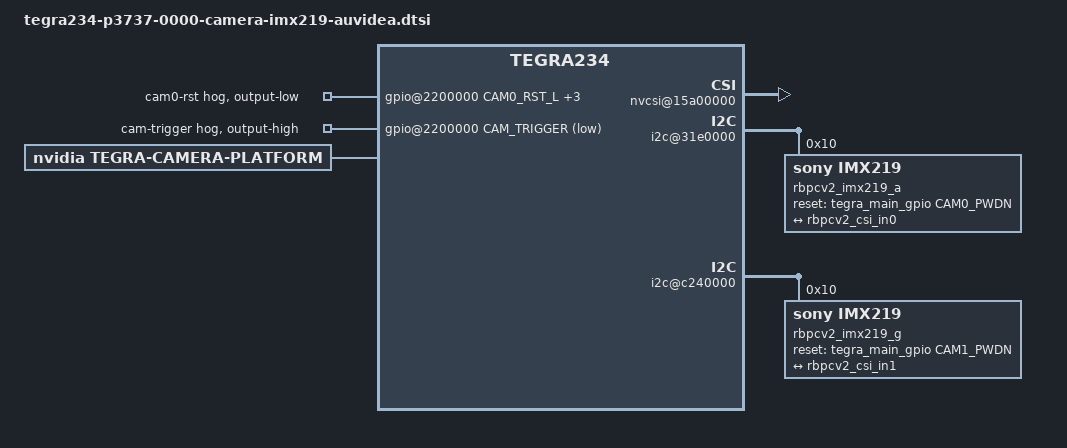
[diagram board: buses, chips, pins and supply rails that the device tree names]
/*
 * Copyright (c) 2017-2021, NVIDIA CORPORATION.  All rights reserved.
 *
 * This program is free software; you can redistribute it and/or modify it
 * under the terms and conditions of the GNU General Public License,
 * version 2, as published by the Free Software Foundation.
 *
 * This program is distributed in the hope it will be useful, but WITHOUT
 * ANY WARRANTY; without even the implied warranty of MERCHANTABILITY or
 * FITNESS FOR A PARTICULAR PURPOSE.  See the GNU General Public License for
 * more details.
 *
 * You should have received a copy of the GNU General Public License
 * along with this program.  If not, see <http://www.gnu.org/licenses/>.
 */

//new file created for 2x cam on X230D

#include "dt-bindings/clock/tegra234-clock.h"

#define CAM0_RST_L	TEGRA234_MAIN_GPIO(H, 3)
#define CAM0_PWDN	TEGRA234_MAIN_GPIO(H, 6)
#define CAM1_RST_L	TEGRA234_MAIN_GPIO(AC, 1)
#define CAM1_PWDN	TEGRA234_MAIN_GPIO(AC, 0)
#define CAM_TRIGGER	TEGRA234_MAIN_GPIO(R, 0)

#define CAMERA_I2C_MUX_BUS(x) (0x1E + x)

/* camera control gpio definitions */

/ {
	gpio@2200000 {
		camera-control-output-low {
			gpio-hog;
			output-low;
			gpios = <CAM0_RST_L 0 CAM0_PWDN 0
				 CAM1_RST_L 0 CAM1_PWDN 0>;
			label = "cam0-rst", "cam0-pwdn",
				"cam1-rst", "cam1-pwdn";
		};
		camera-trigger-output-high {					//remember to use "sudo busybox devmem 0x02430080 w 0x0c"
			gpio-hog;						//for cameras to work properly
			output-high;
			gpios = <CAM_TRIGGER 1>;
			label = "cam-trigger";
		};
	};

	tegra-capture-vi {
		status = "okay";
		num-channels = <2>;
		ports {
			status = "okay";
			#address-cells = <1>;
			#size-cells = <0>;
			vi_port0: port@0 {
				status = "okay";
				reg = <0>;
				rbpcv2_vi_in0: endpoint {
					status = "okay";
					port-index = <0>;
					bus-width = <2>;
					remote-endpoint = <&rbpcv2_csi_out0>;
				};
			};
			vi_port1: port@1 {
				status = "okay";
				reg = <1>;
				rbpcv2_vi_in1: endpoint {
					status = "okay";
					port-index = <5>;						//use stream 5 because no stream 6 is avaliable on the agx orin(fd)
					bus-width = <2>;
					remote-endpoint = <&rbpcv2_csi_out1>;
				};
			};
		};
	};

	host1x@13e00000 {
		nvcsi@15a00000 {
			status = "okay";
			num-channels = <2>;
			#address-cells = <1>;
			#size-cells = <0>;
			csi_chan0: channel@0 {
				status = "okay";
				reg = <0>;
				ports {
					status = "okay";
					#address-cells = <1>;
					#size-cells = <0>;
					csi_chan0_port0: port@0 {
						status = "okay";
						reg = <0>;
						rbpcv2_csi_in0: endpoint@0 {
							status = "okay";
							port-index = <0>;
							bus-width = <2>;
							remote-endpoint = <&rbpcv2_imx219_out0>;
						};
					};
					csi_chan0_port1: port@1 {
						status = "okay";
						reg = <1>;
						rbpcv2_csi_out0: endpoint@1 {
							status = "okay";
							remote-endpoint = <&rbpcv2_vi_in0>;
						};
					};
				};
			};
			csi_chan1: channel@1 {
				status = "okay";
				reg = <1>;
				ports {
					status = "okay";
					#address-cells = <1>;
					#size-cells = <0>;
					csi_chan1_port0: port@0 {
						status = "okay";
						reg = <0>;
						rbpcv2_csi_in1: endpoint@2 {
							status = "okay";
							port-index = <6>;
							bus-width = <2>;
							remote-endpoint = <&rbpcv2_imx219_out1>;
						};
					};
					csi_chan1_port1: port@1 {
						status = "okay";
						reg = <1>;
						rbpcv2_csi_out1: endpoint@3 {
							status = "okay";
							remote-endpoint = <&rbpcv2_vi_in1>;
						};
					};
				};
			};
		};
	};

	i2c@31e0000 {
		status="okay";
		rbpcv2_imx219_a@10 {
			status = "okay";
			reset-gpios = <&tegra_main_gpio CAM0_PWDN GPIO_ACTIVE_HIGH>;
			compatible = "sony,imx219";
			reg = <0x10>;

			devnode = "video0";

			physical_w = "3.680";
			physical_h = "2.760";

			sensor_model = "imx219";

			use_sensor_mode_id = "true";

			mode0 { // IMX219_MODE_3280x2464_21FPS //
				mclk_khz = "24000";
				num_lanes = "2";
				tegra_sinterface = "serial_a";
				phy_mode = "DPHY";
				discontinuous_clk = "yes";
				dpcm_enable = "false";
				cil_settletime = "0";

				active_w = "3280";
				active_h = "2464";
				mode_type = "bayer";
				pixel_phase = "rggb";
				csi_pixel_bit_depth = "10";
				readout_orientation = "90";
				line_length = "3448";
				inherent_gain = "1";
				mclk_multiplier = "9.33";
				pix_clk_hz = "182400000";

				gain_factor = "16";
				framerate_factor = "1000000";
				exposure_factor = "1000000";
				min_gain_val = "16"; // 1.00x //
				max_gain_val = "170"; // 10.66x //
				step_gain_val = "1";
				default_gain = "16"; // 1.00x //
				min_hdr_ratio = "1";
				max_hdr_ratio = "1";
				min_framerate = "2000000"; // 2.0 fps //
				max_framerate = "21000000"; // 21.0 fps //
				step_framerate = "1";
				default_framerate = "21000000"; // 21.0 fps //
				min_exp_time = "13"; // us //
				max_exp_time = "683709"; // us //
				step_exp_time = "1";
				default_exp_time = "2495"; // us //

				embedded_metadata_height = "2";
			};
			mode1 { // IMX219_MODE_3280x1848_28FPS //
				mclk_khz = "24000";
				num_lanes = "2";
				tegra_sinterface = "serial_a";
				phy_mode = "DPHY";
				discontinuous_clk = "yes";
				dpcm_enable = "false";
				cil_settletime = "0";

				active_w = "3280";
				active_h = "1848";
				mode_type = "bayer";
				pixel_phase = "rggb";
				csi_pixel_bit_depth = "10";
				readout_orientation = "90";
				line_length = "3448";
				inherent_gain = "1";
				mclk_multiplier = "9.33";
				pix_clk_hz = "182400000";

				gain_factor = "16";
				framerate_factor = "1000000";
				exposure_factor = "1000000";
				min_gain_val = "16"; // 1.00x //
				max_gain_val = "170"; // 10.66x //
				step_gain_val = "1";
				default_gain = "16"; // 1.00x //
				min_hdr_ratio = "1";
				max_hdr_ratio = "1";
				min_framerate = "2000000"; // 2.0 fps //
				max_framerate = "28000000"; // 28.0 fps //
				step_framerate = "1";
				default_framerate = "28000000"; // 28.0 fps //
				min_exp_time = "13"; // us //
				max_exp_time = "683709"; // us //
				step_exp_time = "1";
				default_exp_time = "2495"; // us //

				embedded_metadata_height = "2";
			};
			mode2 { // IMX219_MODE_1920x1080_30FPS //
				mclk_khz = "24000";
				num_lanes = "2";
				tegra_sinterface = "serial_a";
				phy_mode = "DPHY";
				discontinuous_clk = "yes";
				dpcm_enable = "false";
				cil_settletime = "0";

				active_w = "1920";
				active_h = "1080";
				mode_type = "bayer";
				pixel_phase = "rggb";
				csi_pixel_bit_depth = "10";
				readout_orientation = "90";
				line_length = "3448";
				inherent_gain = "1";
				mclk_multiplier = "9.33";
				pix_clk_hz = "182400000";

				gain_factor = "16";
				framerate_factor = "1000000";
				exposure_factor = "1000000";
				min_gain_val = "16"; // 1.00x //
				max_gain_val = "170"; // 10.66x //
				step_gain_val = "1";
				default_gain = "16"; // 1.00x //
				min_hdr_ratio = "1";
				max_hdr_ratio = "1";
				min_framerate = "2000000"; // 2.0 fps //
				max_framerate = "30000000"; // 30.0 fps //
				step_framerate = "1";
				default_framerate = "30000000"; // 30.0 fps //
				min_exp_time = "13"; // us //
				max_exp_time = "683709"; // us //
				step_exp_time = "1";
				default_exp_time = "2495"; // us //

				embedded_metadata_height = "2";
			};

			mode3 { // IMX219_MODE_1640x1232_30FPS //
				mclk_khz = "24000";
				num_lanes = "2";
				tegra_sinterface = "serial_a";
				phy_mode = "DPHY";
				discontinuous_clk = "yes";
				dpcm_enable = "false";
				cil_settletime = "0";

				active_w = "1640";
				active_h = "1232";
				mode_type = "bayer";
				pixel_phase = "rggb";
				csi_pixel_bit_depth = "10";
				readout_orientation = "90";
				line_length = "3448";
				inherent_gain = "1";
				mclk_multiplier = "9.33";
				pix_clk_hz = "182400000";

				gain_factor = "16";
				framerate_factor = "1000000";
				exposure_factor = "1000000";
				min_gain_val = "16"; // 1.00x //
				max_gain_val = "170"; // 10.66x //
				step_gain_val = "1";
				default_gain = "16"; // 1.00x //
				min_hdr_ratio = "1";
				max_hdr_ratio = "1";
				min_framerate = "2000000"; // 2.0 fps //
				max_framerate = "30000000"; // 60.0 fps //
				step_framerate = "1";
				default_framerate = "30000000"; // 60.0 fps //
				min_exp_time = "13"; // us //
				max_exp_time = "683709"; // us //
				step_exp_time = "1";
				default_exp_time = "2495"; // us //

				embedded_metadata_height = "2";
			};

			mode4 { // IMX219_MODE_1280x720_60FPS //
				mclk_khz = "24000";
				num_lanes = "2";
				tegra_sinterface = "serial_a";
				phy_mode = "DPHY";
				discontinuous_clk = "yes";
				dpcm_enable = "false";
				cil_settletime = "0";

				active_w = "1280";
				active_h = "720";
				mode_type = "bayer";
				pixel_phase = "rggb";
				csi_pixel_bit_depth = "10";
				readout_orientation = "90";
				line_length = "3448";
				inherent_gain = "1";
				mclk_multiplier = "9.33";
				pix_clk_hz = "182400000";

				gain_factor = "16";
				framerate_factor = "1000000";
				exposure_factor = "1000000";
				min_gain_val = "16"; // 1.00x //
				max_gain_val = "170"; // 10.66x //
				step_gain_val = "1";
				default_gain = "16"; // 1.00x //
				min_hdr_ratio = "1";
				max_hdr_ratio = "1";
				min_framerate = "2000000"; // 2.0 fps //
				max_framerate = "60000000"; // 60.0 fps //
				step_framerate = "1";
				default_framerate = "60000000"; // 60.0 fps //
				min_exp_time = "13"; // us //
				max_exp_time = "683709"; // us //
				step_exp_time = "1";
				default_exp_time = "2495"; // us //

				embedded_metadata_height = "2";
			};

			ports {
				status="okay";
				#address-cells = <1>;
				#size-cells = <0>;
				port@0 {
					status="okay";
					reg = <0>;
					rbpcv2_imx219_out0: endpoint {
						status="okay";
						port-index = <0>;
						bus-width = <2>;
						remote-endpoint = <&rbpcv2_csi_in0>;
					};
				};
			};
		};
	};

	i2c@c240000 {
		status="okay";
		rbpcv2_imx219_g@10 {
			status = "okay";
			reset-gpios = <&tegra_main_gpio CAM1_PWDN GPIO_ACTIVE_HIGH>;
			compatible = "sony,imx219";
			reg = <0x10>;

			devnode = "video1";

			physical_w = "3.680";
			physical_h = "2.760";

			sensor_model = "imx219";

			use_sensor_mode_id = "true";

			mode0 { // IMX219_MODE_3280x2464_21FPS //
				mclk_khz = "24000";
				num_lanes = "2";
				tegra_sinterface = "serial_g";
				phy_mode = "DPHY";
				discontinuous_clk = "yes";
				dpcm_enable = "false";
				cil_settletime = "0";

				active_w = "3280";
				active_h = "2464";
				mode_type = "bayer";
				pixel_phase = "rggb";
				csi_pixel_bit_depth = "10";
				readout_orientation = "90";
				line_length = "3448";
				inherent_gain = "1";
				mclk_multiplier = "9.33";
				pix_clk_hz = "182400000";

				gain_factor = "16";
				framerate_factor = "1000000";
				exposure_factor = "1000000";
				min_gain_val = "16"; // 1.00x //
				max_gain_val = "170"; // 10.66x //
				step_gain_val = "1";
				default_gain = "16"; // 1.00x //
				min_hdr_ratio = "1";
				max_hdr_ratio = "1";
				min_framerate = "2000000"; // 2.0 fps //
				max_framerate = "21000000"; // 21.0 fps //
				step_framerate = "1";
				default_framerate = "21000000"; // 21.0 fps //
				min_exp_time = "13"; // us //
				max_exp_time = "683709"; // us //
				step_exp_time = "1";
				default_exp_time = "2495"; // us //

				embedded_metadata_height = "2";
			};
			mode1 { // IMX219_MODE_3280x1848_28FPS //
				mclk_khz = "24000";
				num_lanes = "2";
				tegra_sinterface = "serial_g";
				phy_mode = "DPHY";
				discontinuous_clk = "yes";
				dpcm_enable = "false";
				cil_settletime = "0";

				active_w = "3280";
				active_h = "1848";
				mode_type = "bayer";
				pixel_phase = "rggb";
				csi_pixel_bit_depth = "10";
				readout_orientation = "90";
				line_length = "3448";
				inherent_gain = "1";
				mclk_multiplier = "9.33";
				pix_clk_hz = "182400000";

				gain_factor = "16";
				framerate_factor = "1000000";
				exposure_factor = "1000000";
				min_gain_val = "16"; // 1.00x //
				max_gain_val = "170"; // 10.66x //
				step_gain_val = "1";
				default_gain = "16"; // 1.00x //
				min_hdr_ratio = "1";
				max_hdr_ratio = "1";
				min_framerate = "2000000"; // 2.0 fps //
				max_framerate = "28000000"; // 28.0 fps //
				step_framerate = "1";
				default_framerate = "28000000"; // 28.0 fps //
				min_exp_time = "13"; // us //
				max_exp_time = "683709"; // us //
				step_exp_time = "1";
				default_exp_time = "2495"; // us //

				embedded_metadata_height = "2";
			};
			mode2 { // IMX219_MODE_1920x1080_30FPS //
				mclk_khz = "24000";
				num_lanes = "2";
				tegra_sinterface = "serial_g";
				phy_mode = "DPHY";
				discontinuous_clk = "yes";
				dpcm_enable = "false";
				cil_settletime = "0";

				active_w = "1920";
				active_h = "1080";
				mode_type = "bayer";
				pixel_phase = "rggb";
				csi_pixel_bit_depth = "10";
				readout_orientation = "90";
				line_length = "3448";
				inherent_gain = "1";
				mclk_multiplier = "9.33";
				pix_clk_hz = "182400000";

				gain_factor = "16";
				framerate_factor = "1000000";
				exposure_factor = "1000000";
				min_gain_val = "16"; // 1.00x //
				max_gain_val = "170"; // 10.66x //
				step_gain_val = "1";
				default_gain = "16"; // 1.00x //
				min_hdr_ratio = "1";
				max_hdr_ratio = "1";
				min_framerate = "2000000"; // 2.0 fps //
				max_framerate = "30000000"; // 30.0 fps //
				step_framerate = "1";
				default_framerate = "30000000"; // 30.0 fps //
				min_exp_time = "13"; // us //
				max_exp_time = "683709"; // us //
				step_exp_time = "1";
				default_exp_time = "2495"; // us //

				embedded_metadata_height = "2";
			};

			mode3 { // IMX219_MODE_1640x1232_30FPS //
				mclk_khz = "24000";
				num_lanes = "2";
				tegra_sinterface = "serial_g";
				phy_mode = "DPHY";
				discontinuous_clk = "yes";
				dpcm_enable = "false";
				cil_settletime = "0";

				active_w = "1640";
				active_h = "1232";
				mode_type = "bayer";
				pixel_phase = "rggb";
				csi_pixel_bit_depth = "10";
				readout_orientation = "90";
				line_length = "3448";
				inherent_gain = "1";
				mclk_multiplier = "9.33";
				pix_clk_hz = "182400000";

				gain_factor = "16";
				framerate_factor = "1000000";
				exposure_factor = "1000000";
				min_gain_val = "16"; // 1.00x //
				max_gain_val = "170"; // 10.66x //
				step_gain_val = "1";
				default_gain = "16"; // 1.00x //
				min_hdr_ratio = "1";
				max_hdr_ratio = "1";
				min_framerate = "2000000"; // 2.0 fps //
				max_framerate = "30000000"; // 60.0 fps //
				step_framerate = "1";
				default_framerate = "30000000"; // 60.0 fps //
				min_exp_time = "13"; // us //
				max_exp_time = "683709"; // us //
				step_exp_time = "1";
				default_exp_time = "2495"; // us //

				embedded_metadata_height = "2";
			};

			mode4 { // IMX219_MODE_1280x720_60FPS //
				mclk_khz = "24000";
				num_lanes = "2";
				tegra_sinterface = "serial_g";
				phy_mode = "DPHY";
				discontinuous_clk = "yes";
				dpcm_enable = "false";
				cil_settletime = "0";

				active_w = "1280";
				active_h = "720";
				mode_type = "bayer";
				pixel_phase = "rggb";
				csi_pixel_bit_depth = "10";
				readout_orientation = "90";
				line_length = "3448";
				inherent_gain = "1";
				mclk_multiplier = "9.33";
				pix_clk_hz = "182400000";

				gain_factor = "16";
				framerate_factor = "1000000";
				exposure_factor = "1000000";
				min_gain_val = "16"; // 1.00x //
				max_gain_val = "170"; // 10.66x //
				step_gain_val = "1";
				default_gain = "16"; // 1.00x //
				min_hdr_ratio = "1";
				max_hdr_ratio = "1";
				min_framerate = "2000000"; // 2.0 fps //
				max_framerate = "60000000"; // 60.0 fps //
				step_framerate = "1";
				default_framerate = "60000000"; // 60.0 fps //
				min_exp_time = "13"; // us //
				max_exp_time = "683709"; // us //
				step_exp_time = "1";
				default_exp_time = "2495"; // us //

				embedded_metadata_height = "2";
			};

			ports {
				status="okay";
				#address-cells = <1>;
				#size-cells = <0>;
				port@0 {
					status="okay";
					reg = <0>;
					rbpcv2_imx219_out1: endpoint {
						status = "okay";
						port-index = <6>;
						bus-width = <2>;
						remote-endpoint = <&rbpcv2_csi_in1>;
					};
				};
			};
		};
	};
	lens_imx219@RBPCV2 {
		min_focus_distance = "0.0";
		hyper_focal = "0.0";
		focal_length = "3.04";
		f_number = "2.0";
		aperture = "0.0";
	};
};

/ {

	tegra-camera-platform {
		compatible = "nvidia, tegra-camera-platform";

		num_csi_lanes = <4>;
		max_lane_speed = <1500000>;
		min_bits_per_pixel = <10>;
		vi_peak_byte_per_pixel = <2>;
		vi_bw_margin_pct = <25>;
		max_pixel_rate = <240000>;
		isp_peak_byte_per_pixel = <5>;
		isp_bw_margin_pct = <25>;

		modules {
			cam_module0: module0 {
				badge = "imx219_front_RBPCV2";
				position = "front";
				orientation = "1";
				cam_module0_drivernode0: drivernode0 {
					pcl_id = "v4l2_sensor";
					devname = "imx219 8-0010";
					proc-device-tree = "/proc/device-tree/i2c@31e0000/rbpcv2_imx219_a@10";
				};
				cam_module0_drivernode1: drivernode1 {
					pcl_id = "v4l2_lens";
					proc-device-tree = "/proc/device-tree/lens_imx219@RBPCV2/";
				};
			};
			cam_module1: module1 {
				badge = "imx219_rear_RBPCV2";
				position = "rear";
				orientation = "1";
				cam_module1_drivernode0: drivernode0 {
					pcl_id = "v4l2_sensor";
					devname = "imx219 1-0010";
					proc-device-tree = "/proc/device-tree/i2c@c240000/rbpcv2_imx219_g@10";
				};
				cam_module1_drivernode1: drivernode1 {
					pcl_id = "v4l2_lens";
					proc-device-tree = "/proc/device-tree/lens_imx219@RBPCV2/";
				};
			};
		};
	};
};





